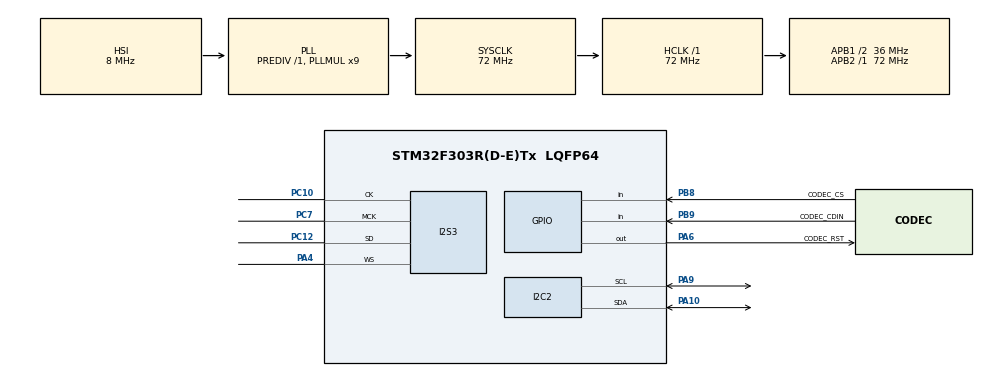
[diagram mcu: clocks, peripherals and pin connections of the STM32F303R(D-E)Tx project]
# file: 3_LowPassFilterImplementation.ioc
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Dma.Request0=SPI3_RX
Dma.SPI3_RX.0.Direction=DMA_PERIPH_TO_MEMORY
Dma.SPI3_RX.0.Instance=DMA2_Channel1
Dma.SPI3_RX.0.MemDataAlignment=DMA_MDATAALIGN_HALFWORD
Dma.SPI3_RX.0.MemInc=DMA_MINC_ENABLE
Dma.SPI3_RX.0.Mode=DMA_CIRCULAR
Dma.SPI3_RX.0.PeriphDataAlignment=DMA_PDATAALIGN_HALFWORD
Dma.SPI3_RX.0.PeriphInc=DMA_PINC_DISABLE
Dma.SPI3_RX.0.Priority=DMA_PRIORITY_HIGH
I2S3.AudioFreq=I2S_AUDIOFREQ_8K
I2S3.DataFormat=I2S_DATAFORMAT_16B_EXTENDED
I2S3.ErrorAudioFreq=0.43 %
I2S3.FullDuplexMode=I2S_FULLDUPLEXMODE_DISABLE
I2S3.Instance=SPI$Index
I2S3.MCLKOutput=I2S_MCLKOUTPUT_ENABLE
I2S3.Mode=I2S_MODE_MASTER_RX
I2S3.RealAudioFreq=8.035 KHz
I2S3.Standard=I2S_STANDARD_PHILIPS
I2S3.VirtualMode=I2S_MODE_MASTER
Mcu.Family=STM32F3
Mcu.Name=STM32F303R(D-E)Tx
Mcu.Package=LQFP64
NVIC.DMA2_Channel1_IRQn=true\:0\:0\:false\:false\:true\:false\:true\:true
NVIC.PriorityGroup=NVIC_PRIORITYGROUP_0
PA10.Mode=I2C
PA10.Signal=I2C2_SDA
PA13.Mode=Serial_Wire
PA13.Signal=SYS_JTMS-SWDIO
PA14.Mode=Serial_Wire
PA14.Signal=SYS_JTCK-SWCLK
PA4.Mode=Half_Duplex_Master
PA4.Signal=I2S3_WS
PA6.GPIO_Label=CODEC_RST
PA6.Signal=GPIO_Output
PA9.Mode=I2C
PA9.Signal=I2C2_SCL
PB8.GPIO_Label=CODEC_CS
PB8.Signal=GPIO_Input
PB9.GPIO_Label=CODEC_CDIN
PB9.Signal=GPIO_Input
PC10.Mode=Half_Duplex_Master
PC10.Signal=I2S3_CK
PC12.Mode=Half_Duplex_Master
PC12.Signal=I2S3_SD
PC7.Mode=Master_Clock_Activated
PC7.Signal=I2S3_MCK
PF0-OSC_IN.Mode=HSE-External-Oscillator
PF0-OSC_IN.Signal=RCC_OSC_IN
PF1-OSC_OUT.Mode=HSE-External-Oscillator
PF1-OSC_OUT.Signal=RCC_OSC_OUT
ProjectManager.HeapSize=0x200
ProjectManager.StackSize=0x400
ProjectManager.TargetToolchain=STM32CubeIDE
RCC.AHBFreq_Value=72000000
RCC.APB1CLKDivider=RCC_HCLK_DIV2
RCC.APB1Freq_Value=36000000
RCC.APB1TimFreq_Value=72000000
RCC.APB2Freq_Value=72000000
RCC.APB2TimFreq_Value=72000000
RCC.CortexFreq_Value=72000000
RCC.HCLKFreq_Value=72000000
RCC.HSE_VALUE=8000000
RCC.HSI_VALUE=8000000
RCC.LSE_VALUE=32768
RCC.PLLM=8
RCC.PLLMUL=RCC_PLL_MUL9
RCC.PLLN=336
RCC.PLLP=RCC_PLLP_DIV4
RCC.PLLQ=7
RCC.RCC_PLLsource_Clock_Source_FROM_HSE=RCC_HSE_PREDIV_DIV2
RCC.SYSCLKFreq_VALUE=72000000
RCC.SYSCLKSourceVirtual=RCC_SYSCLKSOURCE_PLLCLK
RCC.USBFreq_Value=72000000
board=NUCLEO-F303RE

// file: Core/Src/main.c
/* USER CODE BEGIN Header */
/**
  ******************************************************************************
  * @file           : main.c
  * @brief          : Main program body
  ******************************************************************************
  * @attention
  *
  * Copyright (c) 2024 STMicroelectronics.
  * All rights reserved.
  *
  * This software is licensed under terms that can be found in the LICENSE file
  * in the root directory of this software component.
  * If no LICENSE file comes with this software, it is provided AS-IS.
  *
  ******************************************************************************
  */
/* USER CODE END Header */
#include "main.h"

/* USER CODE BEGIN Includes */
#include "CS42448.h"
/* USER CODE END Includes */

/* USER CODE BEGIN PD */
#define BUFFER_SIZE 1024
/* USER CODE END PD */

I2C_HandleTypeDef hi2c2;

I2S_HandleTypeDef hi2s3;
DMA_HandleTypeDef hdma_spi3_rx;

/* USER CODE BEGIN PV */
Codec_Typedef cs42448;

/* USER CODE END PV */

void SystemClock_Config(void);
static void MX_GPIO_Init(void);
static void MX_DMA_Init(void);
static void MX_I2C2_Init(void);
static void MX_I2S3_Init(void);
/* USER CODE BEGIN PFP */
static volatile int16_t codec_buffer[BUFFER_SIZE];
static volatile int16_t codec_buffer_r[BUFFER_SIZE/2];
static volatile int16_t codec_buffer_l[BUFFER_SIZE/2];
static volatile int16_t filter_out_buffer_r[BUFFER_SIZE];

/* USER CODE END PFP */

int main(void)
{

  /* MCU Configuration--------------------------------------------------------*/

  /* Reset of all peripherals, Initializes the Flash interface and the Systick. */
  HAL_Init();

  /* Configure the system clock */
  SystemClock_Config();

  /* Initialize all configured peripherals */
  MX_GPIO_Init();
  MX_DMA_Init();
  MX_I2C2_Init();
  MX_I2S3_Init();
  /* USER CODE BEGIN 2 */
  MX_CODEC_Init();

  PowerDownEnable(&cs42448);
  Codec_IsReady(&cs42448);
  SetI2SInterface(&cs42448);
  HandleRegisters(&cs42448,0x04);// Check I2S Interface
  SetADCMode(&cs42448);
  HandleRegisters(&cs42448,0x05);// Check ADC Mode
  PowerDownDisable(&cs42448);

  HAL_I2S_Receive_DMA(&hi2s3, (uint16_t *)codec_buffer, BUFFER_SIZE);
  /* USER CODE END 2 */

  /* Infinite loop */
  while (1)
  {

  }
}

void SystemClock_Config(void)
{
  RCC_OscInitTypeDef RCC_OscInitStruct = {0};
  RCC_ClkInitTypeDef RCC_ClkInitStruct = {0};
  RCC_PeriphCLKInitTypeDef PeriphClkInit = {0};

  /** Initializes the RCC Oscillators according to the specified parameters
  * in the RCC_OscInitTypeDef structure.
  */
  RCC_OscInitStruct.OscillatorType = RCC_OSCILLATORTYPE_HSI;
  RCC_OscInitStruct.HSIState = RCC_HSI_ON;
  RCC_OscInitStruct.HSICalibrationValue = RCC_HSICALIBRATION_DEFAULT;
  RCC_OscInitStruct.PLL.PLLState = RCC_PLL_ON;
  RCC_OscInitStruct.PLL.PLLSource = RCC_PLLSOURCE_HSI;
  RCC_OscInitStruct.PLL.PLLMUL = RCC_PLL_MUL9;
  RCC_OscInitStruct.PLL.PREDIV = RCC_PREDIV_DIV1;
  if (HAL_RCC_OscConfig(&RCC_OscInitStruct) != HAL_OK)
  {
    Error_Handler();
  }

  /** Initializes the CPU, AHB and APB buses clocks
  */
  RCC_ClkInitStruct.ClockType = RCC_CLOCKTYPE_HCLK|RCC_CLOCKTYPE_SYSCLK
                              |RCC_CLOCKTYPE_PCLK1|RCC_CLOCKTYPE_PCLK2;
  RCC_ClkInitStruct.SYSCLKSource = RCC_SYSCLKSOURCE_PLLCLK;
  RCC_ClkInitStruct.AHBCLKDivider = RCC_SYSCLK_DIV1;
  RCC_ClkInitStruct.APB1CLKDivider = RCC_HCLK_DIV2;
  RCC_ClkInitStruct.APB2CLKDivider = RCC_HCLK_DIV1;

  if (HAL_RCC_ClockConfig(&RCC_ClkInitStruct, FLASH_LATENCY_2) != HAL_OK)
  {
    Error_Handler();
  }
  PeriphClkInit.PeriphClockSelection = RCC_PERIPHCLK_I2S|RCC_PERIPHCLK_I2C2;
  PeriphClkInit.I2sClockSelection = RCC_I2SCLKSOURCE_SYSCLK;
  PeriphClkInit.I2c2ClockSelection = RCC_I2C2CLKSOURCE_HSI;
  if (HAL_RCCEx_PeriphCLKConfig(&PeriphClkInit) != HAL_OK)
  {
    Error_Handler();
  }
}

static void MX_I2C2_Init(void)
{

  hi2c2.Instance = I2C2;
  hi2c2.Init.Timing = 0x2000090E;
  hi2c2.Init.OwnAddress1 = 0;
  hi2c2.Init.AddressingMode = I2C_ADDRESSINGMODE_7BIT;
  hi2c2.Init.DualAddressMode = I2C_DUALADDRESS_DISABLE;
  hi2c2.Init.OwnAddress2 = 0;
  hi2c2.Init.OwnAddress2Masks = I2C_OA2_NOMASK;
  hi2c2.Init.GeneralCallMode = I2C_GENERALCALL_DISABLE;
  hi2c2.Init.NoStretchMode = I2C_NOSTRETCH_DISABLE;
  if (HAL_I2C_Init(&hi2c2) != HAL_OK)
  {
    Error_Handler();
  }

  /** Configure Analogue filter
  */
  if (HAL_I2CEx_ConfigAnalogFilter(&hi2c2, I2C_ANALOGFILTER_ENABLE) != HAL_OK)
  {
    Error_Handler();
  }

  /** Configure Digital filter
  */
  if (HAL_I2CEx_ConfigDigitalFilter(&hi2c2, 0) != HAL_OK)
  {
    Error_Handler();
  }

}

static void MX_I2S3_Init(void)
{

  hi2s3.Instance = SPI3;
  hi2s3.Init.Mode = I2S_MODE_MASTER_RX;
  hi2s3.Init.Standard = I2S_STANDARD_PHILIPS;
  hi2s3.Init.DataFormat = I2S_DATAFORMAT_16B_EXTENDED;
  hi2s3.Init.MCLKOutput = I2S_MCLKOUTPUT_ENABLE;
  hi2s3.Init.AudioFreq = I2S_AUDIOFREQ_8K;
  hi2s3.Init.CPOL = I2S_CPOL_LOW;
  hi2s3.Init.ClockSource = I2S_CLOCK_SYSCLK;
  hi2s3.Init.FullDuplexMode = I2S_FULLDUPLEXMODE_DISABLE;
  if (HAL_I2S_Init(&hi2s3) != HAL_OK)
  {
    Error_Handler();
  }

}

static void MX_DMA_Init(void)
{

  /* DMA controller clock enable */
  __HAL_RCC_DMA2_CLK_ENABLE();

  /* DMA interrupt init */
  /* DMA2_Channel1_IRQn interrupt configuration */
  HAL_NVIC_SetPriority(DMA2_Channel1_IRQn, 0, 0);
  HAL_NVIC_EnableIRQ(DMA2_Channel1_IRQn);

}

static void MX_GPIO_Init(void)
{
  GPIO_InitTypeDef GPIO_InitStruct = {0};

  /* GPIO Ports Clock Enable */
  __HAL_RCC_GPIOF_CLK_ENABLE();
  __HAL_RCC_GPIOA_CLK_ENABLE();
  __HAL_RCC_GPIOC_CLK_ENABLE();
  __HAL_RCC_GPIOB_CLK_ENABLE();

  /*Configure GPIO pin Output Level */
  HAL_GPIO_WritePin(CODEC_RST_GPIO_Port, CODEC_RST_Pin, GPIO_PIN_RESET);

  /*Configure GPIO pin : CODEC_RST_Pin */
  GPIO_InitStruct.Pin = CODEC_RST_Pin;
  GPIO_InitStruct.Mode = GPIO_MODE_OUTPUT_PP;
  GPIO_InitStruct.Pull = GPIO_NOPULL;
  GPIO_InitStruct.Speed = GPIO_SPEED_FREQ_LOW;
  HAL_GPIO_Init(CODEC_RST_GPIO_Port, &GPIO_InitStruct);

  /*Configure GPIO pins : CODEC_CS_Pin CODEC_CDIN_Pin */
  GPIO_InitStruct.Pin = CODEC_CS_Pin|CODEC_CDIN_Pin;
  GPIO_InitStruct.Mode = GPIO_MODE_INPUT;
  GPIO_InitStruct.Pull = GPIO_NOPULL;
  HAL_GPIO_Init(GPIOB, &GPIO_InitStruct);

}

/* USER CODE BEGIN 4 */
void MX_CODEC_Init(void){
	cs42448.CHIP_ADDRESS = 0x90;
	cs42448.i2c_port = hi2c2;
	cs42448.Timeout = 500;
	cs42448.Trials = 3;
	cs42448.Codec_Reset_Pin = CODEC_RST_Pin;
	cs42448.Codec_Reset_Pin_Port = CODEC_RST_GPIO_Port;

}
void HAL_I2S_RxCpltCallback(I2S_HandleTypeDef *hi2s){

	for(int i=0;i<BUFFER_SIZE;i++){
		if(i % 2 == 0){
			codec_buffer_r[i/2] = codec_buffer[i];

		}
		else{
			codec_buffer_l[i/2] = codec_buffer[i];
		}

	}

	HAL_I2S_Receive_DMA(&hi2s3, (uint16_t *)codec_buffer, BUFFER_SIZE);

}
/* USER CODE END 4 */

void Error_Handler(void)
{
  __disable_irq();
  while (1)
  {
  }
}
